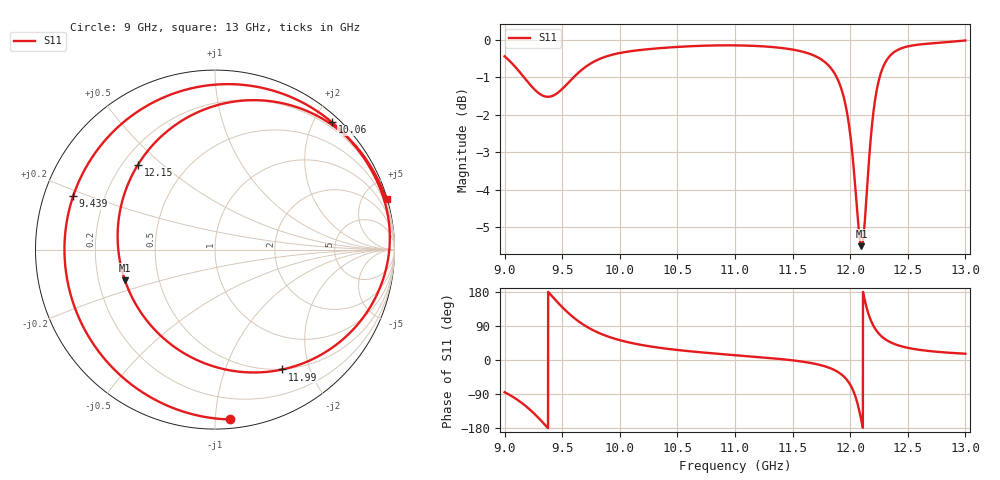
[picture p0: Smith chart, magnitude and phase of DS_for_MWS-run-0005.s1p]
! TOUCHSTONE file generated by CST DESIGN STUDIO
! Date and time: Tue Feb  4 16:20:41 2025
! Project name: C:\Work\MatlabApps\UnitCellOptimizationMatlab\CST\unitcell.cst
! Tree item: Tasks\Sweep1\SPara1\S-Parameters
! Header version: 2024
! Port assignment regex: !\s*Touchstone port\s*([0-9]+)\s*=\s*(CST MWS port|CST DES external port|CST DES block port)\s*(.+)\s* \(\"(.*)\"\)(\s*mode\s*([0-9]+))?.*
! Touchstone port assignment:
! Touchstone port 1 = CST DES external port 1 ("")
# GHz S MA R 50
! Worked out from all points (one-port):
!   4001 points, 9 GHz to 13 GHz, reference 50 ohm
!   lowest |S11| = -5.5 dB at 12.1 GHz (marker M1), VSWR 3.26, Z = 15.7 - j7.5 ohm
!   |S11| at or under -10 dB: nowhere
!   S11 on the Smith chart (normalised r, x): 9 GHz: 0.06, -1.09; 9.439 GHz: 0.09, +0.18; 10.06 GHz: 0.12, +2.27; 11.99 GHz: 0.49, -1.60; 12.15 GHz: 0.26, +0.42; 13 GHz: 0.07, +6.90
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9  0.9498 -85.1
9.114  0.9115 -105.6
9.212  0.874 -128.9
9.335  0.8413 -165.9
9.439  0.8446 159.2
9.5  0.8593 139.6
9.589  0.8873 114.6
9.686  0.9154 92.9
9.834  0.9435 69.4
10  0.9595 52.3
10.064  0.9634 47.4
10.5  0.9776 26.5
11  0.9823 12.8
11.5  0.9697 -0.9
11.84  0.9128 -23.2
11.927  0.8558 -38.9
11.991  0.766 -60.7
12  0.7478 -65.1
12.052  0.6134 -102.7
12.098  0.5302 -161.2
12.122  0.56 164.0
12.148  0.6388 132.2
12.175  0.728 107.8
12.205  0.8078 88.4
12.292  0.9239 57.4
12.378  0.9614 42.9
12.5  0.9793 32.1
13  0.9972 16.5
